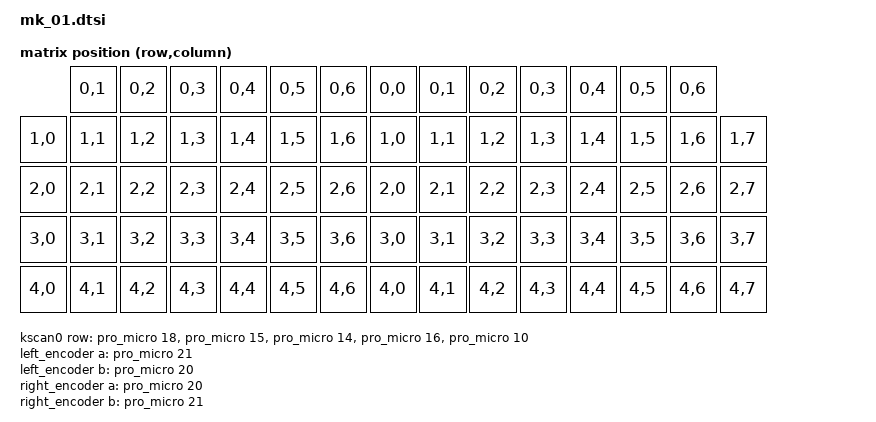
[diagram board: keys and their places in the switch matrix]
#include <dt-bindings/zmk/matrix_transform.h>

/ {
    chosen {
        zmk,kscan = &kscan0;
        zmk,matrix_transform = &default_transform;
    };

    default_transform: keymap_transform_0 {
        compatible = "zmk,matrix-transform";
        columns = <15>;
        rows = <5>;
// |      | SW1  | SW2  | SW3  | SW4  | SW5  | SW6  |           | SW1  | SW2  | SW3  | SW4  | SW5  | SW6  | SW7  |      |
// | SW7  | SW8  | SW9  | SW10 | SW11 | SW12 | SW14 |           | SW8  | SW9  | SW10 | SW11 | SW12 | SW13 | SW14 | SW15 |
// | SW14 | SW15 | SW16 | SW17 | SW18 | SW19 | SW20 |           | SW16 | SW17 | SW18 | SW19 | SW20 | SW21 | SW22 | SW23 |
// | SW21 | SW22 | SW23 | SW24 | SW25 | SW26 | SW27 |           | SW24 | SW25 | SW26 | SW27 | SW28 | SW29 | SW30 | SW31 |
// | SW28 | SW29 | SW30 | SW31 | SW32 | SW33 | SW34 |           | SW32 | SW33 | SW34 | SW35 | SW36 | SW37 | SW38 | SW39 |
        map = <
        RC(0,1) RC(0,2) RC(0,3) RC(0,4) RC(0,5) RC(0,6)         RC(0,0) RC(0,1) RC(0,2) RC(0,3) RC(0,4) RC(0,5) RC(0,6)
RC(1,0) RC(1,1) RC(1,2) RC(1,3) RC(1,4) RC(1,5) RC(1,6)         RC(1,0) RC(1,1) RC(1,2) RC(1,3) RC(1,4) RC(1,5) RC(1,6) RC(1,7)
RC(2,0) RC(2,1) RC(2,2) RC(2,3) RC(2,4) RC(2,5) RC(2,6)         RC(2,0) RC(2,1) RC(2,2) RC(2,3) RC(2,4) RC(2,5) RC(2,6) RC(2,7)
RC(3,0) RC(3,1) RC(3,2) RC(3,3) RC(3,4) RC(3,5) RC(3,6)         RC(3,0) RC(3,1) RC(3,2) RC(3,3) RC(3,4) RC(3,5) RC(3,6) RC(3,7)
RC(4,0) RC(4,1) RC(4,2) RC(4,3) RC(4,4) RC(4,5) RC(4,6)         RC(4,0) RC(4,1) RC(4,2) RC(4,3) RC(4,4) RC(4,5) RC(4,6) RC(4,7)
        >;
    };

    kscan0: kscan {
        compatible = "zmk,kscan-gpio-matrix";
        label = "KSCAN";

        diode-direction = "col2row";
        row-gpios
            = <&pro_micro 18 (GPIO_ACTIVE_HIGH | GPIO_PULL_DOWN)> // Row 0 from the schematic file
            , <&pro_micro 15 (GPIO_ACTIVE_HIGH | GPIO_PULL_DOWN)> // Row 1 from the schematic file
            , <&pro_micro 14 (GPIO_ACTIVE_HIGH | GPIO_PULL_DOWN)> // Row 2 from the schematic file
            , <&pro_micro 16 (GPIO_ACTIVE_HIGH | GPIO_PULL_DOWN)> // Row 3 from the schematic file
            , <&pro_micro 10 (GPIO_ACTIVE_HIGH | GPIO_PULL_DOWN)> // Row 4 from the schematic file
            ;

    };
left_encoder: encoder_left {
	compatible = "alps,ec11";
	label = "LEFT_ENCODER";
	a-gpios = <&pro_micro 21 (GPIO_ACTIVE_HIGH | GPIO_PULL_UP)>;
	b-gpios = <&pro_micro 20 (GPIO_ACTIVE_HIGH | GPIO_PULL_UP)>;
	resolution = <1>;
	status = "enabled";
};
right_encoder: encoder_right {
	compatible = "alps,ec11";
	label = "RIGHT_ENCODER";
	a-gpios = <&pro_micro 20 (GPIO_ACTIVE_HIGH | GPIO_PULL_UP)>;
	b-gpios = <&pro_micro 21 (GPIO_ACTIVE_HIGH | GPIO_PULL_UP)>;
	resolution = <1>;
	status = "enabled";
};
sensors {
	compatible = "zmk,keymap-sensors";
	sensors = <&left_encoder>;
};
};
